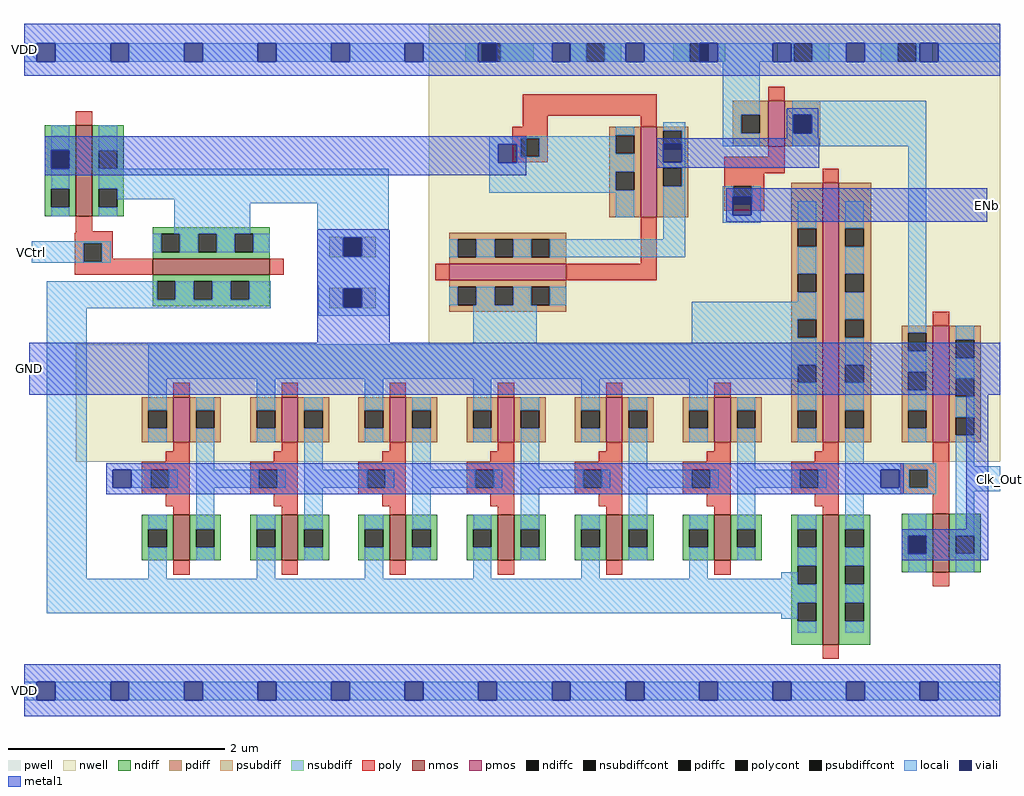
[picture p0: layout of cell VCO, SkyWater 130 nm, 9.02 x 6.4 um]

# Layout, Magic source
magic
tech sky130A
magscale 1 2
<< nwell >>
rect 748 688 1804 1280
rect 96 470 1804 688
<< pwell >>
rect 564 848 650 886
rect 564 754 650 792
<< nmos >>
rect 96 924 126 1092
rect 238 816 454 846
rect 276 288 306 372
rect 476 288 506 372
rect 676 288 706 372
rect 876 288 906 372
rect 1076 288 1106 372
rect 1276 288 1306 372
rect 1476 132 1506 372
rect 1680 266 1710 374
<< pmos >>
rect 1140 922 1170 1090
rect 1376 1054 1406 1138
rect 786 806 1002 836
rect 276 506 306 590
rect 476 506 506 590
rect 676 506 706 590
rect 876 506 906 590
rect 1076 506 1106 590
rect 1276 506 1306 590
rect 1476 506 1506 986
rect 1680 506 1710 722
<< ndiff >>
rect 38 1047 96 1092
rect 38 1013 50 1047
rect 84 1013 96 1047
rect 38 975 96 1013
rect 38 941 50 975
rect 84 941 96 975
rect 38 924 96 941
rect 126 1046 184 1092
rect 126 1012 138 1046
rect 172 1012 184 1046
rect 126 975 184 1012
rect 126 941 138 975
rect 172 941 184 975
rect 126 924 184 941
rect 238 892 454 904
rect 238 858 254 892
rect 288 858 322 892
rect 356 858 390 892
rect 424 858 454 892
rect 238 846 454 858
rect 238 804 454 816
rect 238 770 246 804
rect 280 770 314 804
rect 348 770 382 804
rect 416 770 454 804
rect 238 758 454 770
rect 218 346 276 372
rect 218 312 230 346
rect 264 312 276 346
rect 218 288 276 312
rect 306 346 364 372
rect 306 312 318 346
rect 352 312 364 346
rect 306 288 364 312
rect 418 346 476 372
rect 418 312 430 346
rect 464 312 476 346
rect 418 288 476 312
rect 506 346 564 372
rect 506 312 518 346
rect 552 312 564 346
rect 506 288 564 312
rect 618 346 676 372
rect 618 312 630 346
rect 664 312 676 346
rect 618 288 676 312
rect 706 346 764 372
rect 706 312 718 346
rect 752 312 764 346
rect 706 288 764 312
rect 818 346 876 372
rect 818 312 830 346
rect 864 312 876 346
rect 818 288 876 312
rect 906 346 964 372
rect 906 312 918 346
rect 952 312 964 346
rect 906 288 964 312
rect 1018 346 1076 372
rect 1018 312 1030 346
rect 1064 312 1076 346
rect 1018 288 1076 312
rect 1106 346 1164 372
rect 1106 312 1118 346
rect 1152 312 1164 346
rect 1106 288 1164 312
rect 1218 346 1276 372
rect 1218 312 1230 346
rect 1264 312 1276 346
rect 1218 288 1276 312
rect 1306 346 1364 372
rect 1306 312 1318 346
rect 1352 312 1364 346
rect 1306 288 1364 312
rect 1418 346 1476 372
rect 1418 312 1430 346
rect 1464 312 1476 346
rect 1418 278 1476 312
rect 1418 244 1430 278
rect 1464 244 1476 278
rect 1418 210 1476 244
rect 1418 176 1430 210
rect 1464 176 1476 210
rect 1418 132 1476 176
rect 1506 346 1564 372
rect 1506 312 1518 346
rect 1552 312 1564 346
rect 1506 278 1564 312
rect 1506 244 1518 278
rect 1552 244 1564 278
rect 1622 334 1680 374
rect 1622 300 1634 334
rect 1668 300 1680 334
rect 1622 266 1680 300
rect 1710 334 1768 374
rect 1710 300 1722 334
rect 1756 300 1768 334
rect 1710 266 1768 300
rect 1506 210 1564 244
rect 1506 176 1518 210
rect 1552 176 1564 210
rect 1506 132 1564 176
<< pdiff >>
rect 1310 1112 1376 1138
rect 1082 1074 1140 1090
rect 1082 1040 1094 1074
rect 1128 1040 1140 1074
rect 1082 1006 1140 1040
rect 1082 972 1094 1006
rect 1128 972 1140 1006
rect 1082 922 1140 972
rect 1170 1082 1228 1090
rect 1170 1048 1182 1082
rect 1216 1048 1228 1082
rect 1310 1078 1326 1112
rect 1360 1078 1376 1112
rect 1310 1054 1376 1078
rect 1406 1112 1472 1138
rect 1406 1078 1422 1112
rect 1456 1078 1472 1112
rect 1406 1054 1472 1078
rect 1170 1014 1228 1048
rect 1170 980 1182 1014
rect 1216 980 1228 1014
rect 1170 922 1228 980
rect 786 882 1002 894
rect 786 848 802 882
rect 836 848 870 882
rect 904 848 938 882
rect 972 848 1002 882
rect 786 836 1002 848
rect 1418 902 1476 986
rect 1418 868 1430 902
rect 1464 868 1476 902
rect 1418 818 1476 868
rect 786 794 1002 806
rect 786 760 802 794
rect 836 760 870 794
rect 904 760 938 794
rect 972 760 1002 794
rect 786 748 1002 760
rect 1418 784 1430 818
rect 1464 784 1476 818
rect 1418 734 1476 784
rect 1418 700 1430 734
rect 1464 700 1476 734
rect 1418 650 1476 700
rect 1418 616 1430 650
rect 1464 616 1476 650
rect 218 566 276 590
rect 218 532 230 566
rect 264 532 276 566
rect 218 506 276 532
rect 306 566 364 590
rect 306 532 318 566
rect 352 532 364 566
rect 306 506 364 532
rect 418 566 476 590
rect 418 532 430 566
rect 464 532 476 566
rect 418 506 476 532
rect 506 566 564 590
rect 506 532 518 566
rect 552 532 564 566
rect 506 506 564 532
rect 618 566 676 590
rect 618 532 630 566
rect 664 532 676 566
rect 618 506 676 532
rect 706 566 764 590
rect 706 532 718 566
rect 752 532 764 566
rect 706 506 764 532
rect 818 566 876 590
rect 818 532 830 566
rect 864 532 876 566
rect 818 506 876 532
rect 906 566 964 590
rect 906 532 918 566
rect 952 532 964 566
rect 906 506 964 532
rect 1018 566 1076 590
rect 1018 532 1030 566
rect 1064 532 1076 566
rect 1018 506 1076 532
rect 1106 566 1164 590
rect 1106 532 1118 566
rect 1152 532 1164 566
rect 1106 506 1164 532
rect 1218 566 1276 590
rect 1218 532 1230 566
rect 1264 532 1276 566
rect 1218 506 1276 532
rect 1306 566 1364 590
rect 1306 532 1318 566
rect 1352 532 1364 566
rect 1306 506 1364 532
rect 1418 566 1476 616
rect 1418 532 1430 566
rect 1464 532 1476 566
rect 1418 506 1476 532
rect 1506 902 1566 986
rect 1506 868 1518 902
rect 1552 868 1566 902
rect 1506 818 1566 868
rect 1506 784 1518 818
rect 1552 784 1566 818
rect 1506 734 1566 784
rect 1506 700 1518 734
rect 1552 700 1566 734
rect 1506 650 1566 700
rect 1506 616 1518 650
rect 1552 616 1566 650
rect 1506 566 1566 616
rect 1506 532 1518 566
rect 1552 532 1566 566
rect 1506 506 1566 532
rect 1622 709 1680 722
rect 1622 675 1634 709
rect 1668 675 1680 709
rect 1622 637 1680 675
rect 1622 603 1634 637
rect 1668 603 1680 637
rect 1622 566 1680 603
rect 1622 532 1634 566
rect 1668 532 1680 566
rect 1622 506 1680 532
rect 1710 696 1768 722
rect 1710 662 1722 696
rect 1756 662 1768 696
rect 1710 625 1768 662
rect 1710 591 1722 625
rect 1756 591 1768 625
rect 1710 553 1768 591
rect 1710 519 1722 553
rect 1756 519 1768 553
rect 1710 506 1768 519
<< ndiffc >>
rect 50 1013 84 1047
rect 50 941 84 975
rect 138 1012 172 1046
rect 138 941 172 975
rect 254 858 288 892
rect 322 858 356 892
rect 390 858 424 892
rect 246 770 280 804
rect 314 770 348 804
rect 382 770 416 804
rect 230 312 264 346
rect 318 312 352 346
rect 430 312 464 346
rect 518 312 552 346
rect 630 312 664 346
rect 718 312 752 346
rect 830 312 864 346
rect 918 312 952 346
rect 1030 312 1064 346
rect 1118 312 1152 346
rect 1230 312 1264 346
rect 1318 312 1352 346
rect 1430 312 1464 346
rect 1430 244 1464 278
rect 1430 176 1464 210
rect 1518 312 1552 346
rect 1518 244 1552 278
rect 1634 300 1668 334
rect 1722 300 1756 334
rect 1518 176 1552 210
<< pdiffc >>
rect 1094 1040 1128 1074
rect 1094 972 1128 1006
rect 1182 1048 1216 1082
rect 1326 1078 1360 1112
rect 1422 1078 1456 1112
rect 1182 980 1216 1014
rect 802 848 836 882
rect 870 848 904 882
rect 938 848 972 882
rect 1430 868 1464 902
rect 802 760 836 794
rect 870 760 904 794
rect 938 760 972 794
rect 1430 784 1464 818
rect 1430 700 1464 734
rect 1430 616 1464 650
rect 230 532 264 566
rect 318 532 352 566
rect 430 532 464 566
rect 518 532 552 566
rect 630 532 664 566
rect 718 532 752 566
rect 830 532 864 566
rect 918 532 952 566
rect 1030 532 1064 566
rect 1118 532 1152 566
rect 1230 532 1264 566
rect 1318 532 1352 566
rect 1430 532 1464 566
rect 1518 868 1552 902
rect 1518 784 1552 818
rect 1518 700 1552 734
rect 1518 616 1552 650
rect 1518 532 1552 566
rect 1634 675 1668 709
rect 1634 603 1668 637
rect 1634 532 1668 566
rect 1722 662 1756 696
rect 1722 591 1756 625
rect 1722 519 1756 553
<< psubdiff >>
rect 564 884 650 886
rect 564 850 590 884
rect 624 850 650 884
rect 564 848 650 850
rect 564 790 650 792
rect 564 756 590 790
rect 624 756 650 790
rect 564 754 650 756
<< nsubdiff >>
rect 816 1210 847 1244
rect 881 1210 942 1244
rect 1008 1210 1039 1244
rect 1073 1210 1104 1244
rect 1200 1210 1231 1244
rect 1265 1210 1296 1244
rect 1392 1210 1423 1244
rect 1457 1210 1488 1244
rect 1584 1210 1615 1244
rect 1649 1210 1680 1244
<< psubdiffcont >>
rect 590 850 624 884
rect 590 756 624 790
<< nsubdiffcont >>
rect 847 1210 881 1244
rect 1039 1210 1073 1244
rect 1231 1210 1265 1244
rect 1423 1210 1457 1244
rect 1615 1210 1649 1244
<< poly >>
rect 96 1092 126 1118
rect 922 1110 1170 1150
rect 1376 1138 1406 1164
rect 922 1090 968 1110
rect 1140 1090 1170 1110
rect 902 1068 968 1090
rect 902 1034 918 1068
rect 952 1034 968 1068
rect 902 1024 968 1034
rect 96 896 126 924
rect 1376 1034 1406 1054
rect 1294 1004 1406 1034
rect 1294 980 1368 1004
rect 1476 986 1506 1012
rect 1294 946 1311 980
rect 1345 946 1368 980
rect 1294 934 1368 946
rect 96 894 164 896
rect 94 874 164 894
rect 94 840 110 874
rect 144 846 164 874
rect 144 840 238 846
rect 94 816 238 840
rect 454 816 480 846
rect 1140 836 1170 922
rect 760 806 786 836
rect 1002 806 1170 836
rect 276 590 306 616
rect 476 590 506 616
rect 676 590 706 616
rect 876 590 906 616
rect 1076 590 1106 616
rect 1276 590 1306 616
rect 1680 722 1710 748
rect 276 490 306 506
rect 476 490 506 506
rect 676 490 706 506
rect 876 490 906 506
rect 1076 490 1106 506
rect 1276 490 1306 506
rect 1476 490 1506 506
rect 262 470 306 490
rect 462 470 506 490
rect 662 470 706 490
rect 862 470 906 490
rect 1062 470 1106 490
rect 1262 470 1306 490
rect 1462 470 1506 490
rect 218 456 306 470
rect 218 422 234 456
rect 268 422 306 456
rect 218 410 306 422
rect 418 456 506 470
rect 418 422 434 456
rect 468 422 506 456
rect 418 410 506 422
rect 618 456 706 470
rect 618 422 634 456
rect 668 422 706 456
rect 618 410 706 422
rect 818 456 906 470
rect 818 422 834 456
rect 868 422 906 456
rect 818 410 906 422
rect 1018 456 1106 470
rect 1018 422 1034 456
rect 1068 422 1106 456
rect 1018 410 1106 422
rect 1218 456 1306 470
rect 1218 422 1234 456
rect 1268 422 1306 456
rect 1218 410 1306 422
rect 1418 456 1506 470
rect 1680 468 1710 506
rect 1418 422 1434 456
rect 1468 422 1506 456
rect 1418 410 1506 422
rect 1620 456 1710 468
rect 1620 422 1636 456
rect 1670 422 1710 456
rect 1620 410 1710 422
rect 262 388 306 410
rect 462 388 506 410
rect 662 388 706 410
rect 862 388 906 410
rect 1062 388 1106 410
rect 1262 388 1306 410
rect 1462 388 1506 410
rect 276 372 306 388
rect 476 372 506 388
rect 676 372 706 388
rect 876 372 906 388
rect 1076 372 1106 388
rect 1276 372 1306 388
rect 1476 372 1506 388
rect 1680 374 1710 410
rect 276 262 306 288
rect 476 262 506 288
rect 676 262 706 288
rect 876 262 906 288
rect 1076 262 1106 288
rect 1276 262 1306 288
rect 1680 240 1710 266
rect 1476 106 1506 132
<< polycont >>
rect 918 1034 952 1068
rect 1311 946 1345 980
rect 110 840 144 874
rect 234 422 268 456
rect 434 422 468 456
rect 634 422 668 456
rect 834 422 868 456
rect 1034 422 1068 456
rect 1234 422 1268 456
rect 1434 422 1468 456
rect 1636 422 1670 456
<< locali >>
rect 0 1210 24 1244
rect 58 1210 160 1244
rect 194 1210 296 1244
rect 330 1210 432 1244
rect 466 1210 568 1244
rect 602 1210 704 1244
rect 738 1210 840 1244
rect 881 1210 976 1244
rect 1010 1210 1039 1244
rect 1073 1210 1112 1244
rect 1146 1210 1231 1244
rect 1282 1210 1384 1244
rect 1418 1210 1423 1244
rect 1457 1210 1520 1244
rect 1554 1210 1615 1244
rect 1649 1210 1656 1244
rect 1690 1210 1804 1244
rect 1292 1112 1360 1210
rect 50 1047 84 1092
rect 50 975 84 1012
rect 50 924 84 941
rect 138 1046 172 1092
rect 1094 1074 1128 1090
rect 860 1068 1094 1072
rect 860 1057 918 1068
rect 860 1023 877 1057
rect 911 1034 918 1057
rect 952 1040 1094 1068
rect 952 1034 1128 1040
rect 911 1023 1128 1034
rect 138 975 674 1012
rect 172 956 674 975
rect 860 1006 1128 1023
rect 860 972 1094 1006
rect 860 968 1128 972
rect 138 924 172 941
rect 278 948 674 956
rect 278 892 418 948
rect 542 898 674 948
rect 1094 922 1128 968
rect 1182 1082 1222 1098
rect 1216 1024 1222 1082
rect 1292 1078 1326 1112
rect 1292 1054 1360 1078
rect 1420 1112 1668 1138
rect 1420 1078 1422 1112
rect 1456 1078 1668 1112
rect 1420 1054 1668 1078
rect 1182 1014 1222 1024
rect 1216 980 1222 1014
rect 14 874 160 878
rect 14 840 110 874
rect 144 840 160 874
rect 238 858 254 892
rect 288 858 322 892
rect 356 858 390 892
rect 424 858 454 892
rect 542 884 676 898
rect 14 838 160 840
rect 542 850 590 884
rect 624 850 676 884
rect 1182 882 1222 980
rect 1292 960 1311 980
rect 1292 926 1310 960
rect 1345 946 1362 980
rect 1344 926 1362 946
rect 1292 912 1362 926
rect 42 770 246 804
rect 280 770 314 804
rect 348 770 382 804
rect 416 770 456 804
rect 542 798 676 850
rect 786 848 802 882
rect 836 848 870 882
rect 904 848 938 882
rect 972 848 1222 882
rect 1430 902 1464 952
rect 1430 818 1464 868
rect 42 754 456 770
rect 544 790 674 798
rect 544 756 590 790
rect 624 756 674 790
rect 786 760 802 794
rect 836 760 870 794
rect 904 760 938 794
rect 972 760 1002 794
rect 1430 766 1464 784
rect 42 254 116 754
rect 544 740 674 756
rect 830 688 948 760
rect 1234 734 1464 766
rect 1234 700 1430 734
rect 1234 688 1464 700
rect 230 650 1464 688
rect 230 624 1430 650
rect 230 566 264 624
rect 230 506 264 532
rect 318 566 352 590
rect 318 456 352 532
rect 430 566 464 624
rect 430 506 464 532
rect 518 566 552 590
rect 518 456 552 532
rect 630 566 664 624
rect 630 506 664 532
rect 718 566 752 590
rect 718 456 752 532
rect 830 566 864 624
rect 830 506 864 532
rect 918 566 952 590
rect 918 456 952 532
rect 1030 566 1064 624
rect 1030 506 1064 532
rect 1118 566 1152 590
rect 1118 456 1152 532
rect 1230 566 1264 624
rect 1230 506 1264 532
rect 1318 566 1352 590
rect 1318 456 1352 532
rect 1430 566 1464 616
rect 1430 506 1464 532
rect 1518 902 1552 952
rect 1518 818 1552 868
rect 1518 734 1552 784
rect 1518 650 1552 700
rect 1518 566 1552 616
rect 1518 468 1552 532
rect 1634 709 1668 1054
rect 1634 637 1668 675
rect 1634 566 1668 603
rect 1634 506 1668 532
rect 1722 696 1756 722
rect 1722 625 1756 662
rect 1722 553 1756 591
rect 1518 456 1686 468
rect 198 422 234 456
rect 268 422 284 456
rect 318 422 434 456
rect 468 422 484 456
rect 518 422 634 456
rect 668 422 684 456
rect 718 422 834 456
rect 868 422 884 456
rect 918 422 1034 456
rect 1068 422 1084 456
rect 1118 422 1234 456
rect 1268 422 1284 456
rect 1318 422 1434 456
rect 1468 422 1484 456
rect 1518 422 1584 456
rect 1618 422 1636 456
rect 1670 422 1686 456
rect 230 346 264 372
rect 230 254 264 312
rect 318 346 352 422
rect 318 288 352 312
rect 430 346 464 372
rect 430 254 464 312
rect 518 346 552 422
rect 518 288 552 312
rect 630 346 664 372
rect 630 254 664 312
rect 718 346 752 422
rect 718 288 752 312
rect 830 346 864 372
rect 830 254 864 312
rect 918 346 952 422
rect 918 288 952 312
rect 1030 346 1064 372
rect 1030 254 1064 312
rect 1118 346 1152 422
rect 1118 288 1152 312
rect 1230 346 1264 372
rect 1230 254 1264 312
rect 1318 346 1352 422
rect 1518 410 1686 422
rect 1722 462 1756 519
rect 1722 416 1804 462
rect 1318 288 1352 312
rect 1430 346 1464 372
rect 1430 278 1464 312
rect 1400 254 1430 266
rect 42 244 1430 254
rect 42 210 1464 244
rect 42 190 1430 210
rect 1400 180 1430 190
rect 1430 154 1464 176
rect 1518 346 1552 410
rect 1518 278 1552 312
rect 1634 334 1668 374
rect 1634 266 1668 300
rect 1722 334 1756 416
rect 1722 266 1756 300
rect 1518 210 1552 244
rect 1518 154 1552 176
rect 0 30 24 64
rect 58 30 160 64
rect 194 30 296 64
rect 330 30 432 64
rect 466 30 568 64
rect 602 30 704 64
rect 738 30 840 64
rect 874 30 976 64
rect 1010 30 1112 64
rect 1146 30 1248 64
rect 1282 30 1384 64
rect 1418 30 1520 64
rect 1554 30 1656 64
rect 1690 30 1804 64
<< viali >>
rect 24 1210 58 1244
rect 160 1210 194 1244
rect 296 1210 330 1244
rect 432 1210 466 1244
rect 568 1210 602 1244
rect 704 1210 738 1244
rect 840 1210 847 1244
rect 847 1210 874 1244
rect 976 1210 1010 1244
rect 1112 1210 1146 1244
rect 1248 1210 1265 1244
rect 1265 1210 1282 1244
rect 1384 1210 1418 1244
rect 1520 1210 1554 1244
rect 1656 1210 1690 1244
rect 50 1013 84 1046
rect 50 1012 84 1013
rect 877 1023 911 1057
rect 1182 1048 1216 1058
rect 1182 1024 1216 1048
rect 1422 1078 1456 1112
rect 590 850 624 884
rect 1310 946 1311 960
rect 1311 946 1344 960
rect 1310 926 1344 946
rect 590 756 624 790
rect 164 422 198 456
rect 1584 422 1618 456
rect 1634 300 1668 334
rect 24 30 58 64
rect 160 30 194 64
rect 296 30 330 64
rect 432 30 466 64
rect 568 30 602 64
rect 704 30 738 64
rect 840 30 874 64
rect 976 30 1010 64
rect 1112 30 1146 64
rect 1248 30 1282 64
rect 1384 30 1418 64
rect 1520 30 1554 64
rect 1656 30 1690 64
<< metal1 >>
rect 0 1244 1804 1280
rect 0 1210 24 1244
rect 58 1210 160 1244
rect 194 1210 296 1244
rect 330 1210 432 1244
rect 466 1210 568 1244
rect 602 1210 704 1244
rect 738 1210 840 1244
rect 874 1210 976 1244
rect 1010 1210 1112 1244
rect 1146 1210 1248 1244
rect 1282 1210 1384 1244
rect 1418 1210 1520 1244
rect 1554 1210 1656 1244
rect 1690 1210 1804 1244
rect 0 1184 1804 1210
rect 1410 1112 1468 1124
rect 1410 1078 1422 1112
rect 1456 1078 1468 1112
rect 38 1057 928 1072
rect 1410 1068 1468 1078
rect 38 1046 877 1057
rect 38 1012 50 1046
rect 84 1023 877 1046
rect 911 1023 928 1057
rect 84 1012 928 1023
rect 1170 1058 1470 1068
rect 1170 1024 1182 1058
rect 1216 1024 1470 1058
rect 1170 1014 1470 1024
rect 38 1000 928 1012
rect 1298 960 1780 976
rect 1298 926 1310 960
rect 1344 926 1780 960
rect 1298 914 1780 926
rect 544 898 674 900
rect 542 884 676 898
rect 542 850 590 884
rect 624 850 676 884
rect 542 790 676 850
rect 542 756 590 790
rect 624 756 676 790
rect 542 690 676 756
rect 10 594 1804 690
rect 152 456 1626 468
rect 152 422 164 456
rect 198 422 1584 456
rect 1618 422 1626 456
rect 152 412 1626 422
rect 152 410 1624 412
rect 1742 346 1782 594
rect 1622 334 1782 346
rect 1622 300 1634 334
rect 1668 300 1782 334
rect 1622 288 1782 300
rect 0 64 1804 96
rect 0 30 24 64
rect 58 30 160 64
rect 194 30 296 64
rect 330 30 432 64
rect 466 30 568 64
rect 602 30 704 64
rect 738 30 840 64
rect 874 30 976 64
rect 1010 30 1112 64
rect 1146 30 1248 64
rect 1282 30 1384 64
rect 1418 30 1520 64
rect 1554 30 1656 64
rect 1690 30 1804 64
rect 0 0 1804 30
<< labels >>
rlabel locali s 14 858 14 858 4 VCtrl
port 1 nsew
rlabel metal1 s 0 48 0 48 4 VDD
port 2 nsew
rlabel metal1 s 0 1232 0 1232 4 VDD
port 2 nsew
rlabel metal1 s 10 642 10 642 4 GND
port 3 nsew
rlabel locali s 1804 438 1804 438 4 Clk_Out
port 4 nsew
rlabel metal1 s 1780 944 1780 944 4 ENb
port 5 nsew
<< end >>
